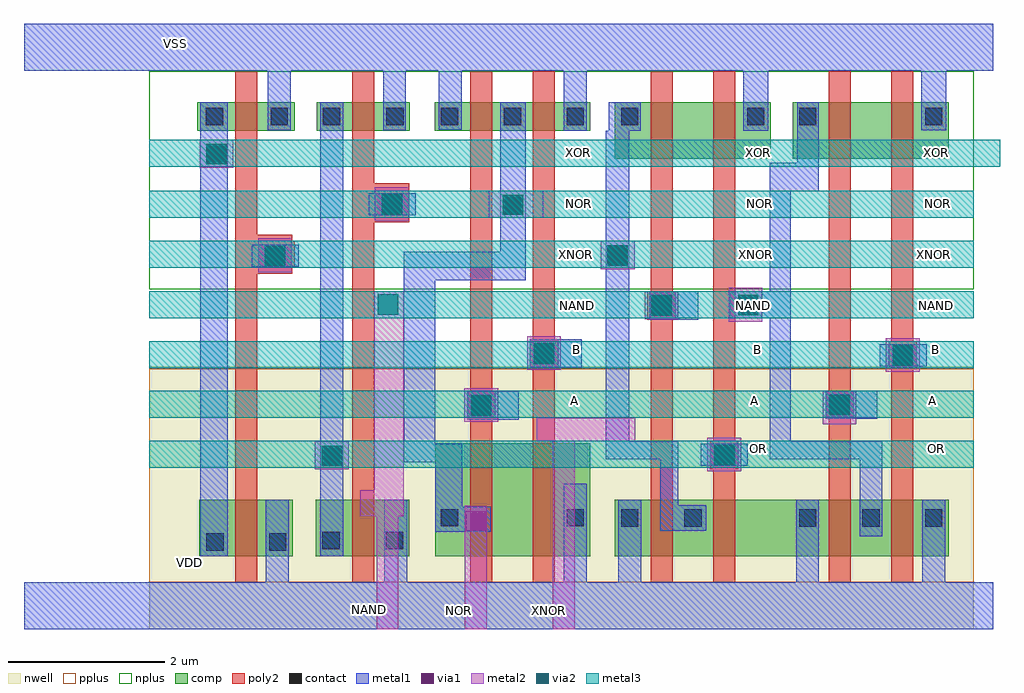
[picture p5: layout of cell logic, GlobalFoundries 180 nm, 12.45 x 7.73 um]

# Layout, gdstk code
import gdstk
lib = gdstk.Library(unit=1e-6, precision=5e-09)
def R(c, l, rs):  # rectangles x0, y0, x1, y1
    for r in rs: c.add(gdstk.rectangle(r[:2], r[2:], *l))
def A(c, l, x, y, w, h, nx, ny, dx, dy):  # array of equal rectangles
    R(c, l, [(x+i*dx, y+j*dy, x+i*dx+w, y+j*dy+h) for i in range(nx) for j in range(ny)])
nwell = (21, 0)
comp = (22, 0)
poly2 = (30, 0)
pplus = (31, 0)
nplus = (32, 0)
contact = (33, 0)
metal1 = (34, 0)
via1 = (35, 0)
metal2 = (36, 0)
via2 = (38, 0)
metal3 = (42, 0)

logic = lib.new_cell('logic')
R(logic, nwell, [(-2.8,-5.725,7.715,-2.375)])
R(logic, comp, [(-2.16,-4.79,-0.97,-4.07), (-0.675,-4.79,0.515,-4.07), (0.85,-4.79,2.825,-3.35), (3.14,-4.79,5.41,-4.07), (5.41,-4.79,7.395,-4.07), (3.14,0.275,5.125,0.995), (5.41,0.275,7.395,0.995), (-2.185,0.635,-0.945,0.995), (-0.665,0.635,0.525,0.995), (0.84,0.635,2.825,0.995)])
R(logic, poly2, [(-1.7,-5.125,-1.42,1.385), (-0.21,-5.125,0.07,1.385), (1.295,-5.125,1.575,1.385), (2.095,-5.125,2.375,1.39), (3.595,-5.125,3.875,1.385), (4.395,-5.125,4.675,1.39), (5.865,-5.125,6.145,1.39), (6.665,-5.125,6.945,1.39), (4.355,-3.68,4.715,-3.32), (1.255,-3.05,1.615,-2.69), (5.825,-3.04,6.185,-2.68), (6.63,-2.41,6.99,-2.05), (6.63,-2.41,6.99,-2.05), (2.055,-2.385,2.415,-2.025), (3.555,-1.775,3.915,-1.415), (-1.42,-1.19,-0.975,-0.69), (-1.385,-1.115,-0.94,-0.77), (0.07,-0.535,0.515,-0.035)])
R(logic, pplus, [(-2.8,-5.125,7.715,-2.4)])
R(logic, nplus, [(-2.8,-1.385,7.715,1.395)])
R(logic, contact, [(-2.07,-4.72,-1.85,-4.5), (-1.27,-4.72,-1.05,-4.5), (-0.59,-4.7,-0.37,-4.48), (0.22,-4.7,0.44,-4.48), (3.22,-4.415,3.44,-4.195), (4.025,-4.415,4.245,-4.195), (5.49,-4.415,5.71,-4.195), (6.295,-4.415,6.515,-4.195), (7.095,-4.415,7.315,-4.195), (0.92,-4.41,1.14,-4.19), (2.525,-4.41,2.745,-4.19), (4.425,-3.61,4.645,-3.39), (1.325,-2.98,1.545,-2.76), (5.895,-2.97,6.115,-2.75), (6.7,-2.34,6.92,-2.12), (6.7,-2.34,6.92,-2.12), (2.125,-2.315,2.345,-2.095), (3.625,-1.705,3.845,-1.485), (-1.305,-1.07,-1.085,-0.85), (-1.305,-1.07,-1.085,-0.85), (0.185,-0.415,0.405,-0.195), (0.185,-0.415,0.405,-0.195), (-2.075,0.705,-1.855,0.925), (-1.25,0.705,-1.03,0.925), (-0.585,0.705,-0.365,0.925), (0.225,0.705,0.445,0.925), (0.92,0.705,1.14,0.925), (1.725,0.705,1.945,0.925), (2.525,0.705,2.745,0.925), (3.22,0.705,3.44,0.925), (4.825,0.705,5.045,0.925), (5.49,0.705,5.71,0.925), (7.095,0.705,7.315,0.925)])
R(logic, metal1, [(-4.395,-5.725,7.965,-5.125), (-1.31,-5.215,-1.02,-4.07), (0.2,-5.21,0.49,-4.07), (7.06,-5.21,7.35,-4.07), (2.49,-5.205,2.78,-3.865), (3.185,-5.205,3.475,-4.07), (5.45,-5.205,5.74,-4.07), (-2.145,-4.79,-1.795,0.995), (-0.615,-4.79,-0.325,0.995), (6.26,-4.535,6.55,-3.33), (0.85,-4.48,1.555,-4.16), (3.715,-4.47,4.305,-4.14), (3.715,-4.22,3.945,-3.325), (0.85,-4.16,1.19,-3.595), (4.235,-3.64,4.835,-3.36), (0.445,-3.595,0.85,-0.91), (0.445,-3.595,1.19,-3.36), (3.025,-3.555,3.325,0.635), (3.06,-3.555,3.945,-3.325), (5.115,-3.555,5.385,0.225), (5.33,-3.555,6.55,-3.325), (1.255,-3.05,1.915,-2.69), (5.825,-3.04,6.485,-2.68), (2.055,-2.385,2.715,-2.025), (6.515,-2.37,7.115,-2.09), (6.515,-2.37,7.115,-2.09), (3.585,-1.775,4.205,-1.415), (4.6,-1.755,5.115,-1.41), (0.85,-1.275,2,-0.91), (1.675,-1.275,2,0.995), (-1.49,-1.1,-0.89,-0.82), (-1.49,-1.1,-0.89,-0.82), (0,-0.445,0.6,-0.165), (0,-0.445,0.6,-0.165), (5.33,-0.135,5.74,0.225), (5.465,-0.135,5.74,0.995), (2.49,0.635,2.78,2), (3.06,0.635,3.47,0.995), (4.775,0.635,5.095,2), (-1.285,0.64,-0.995,2), (0.185,0.64,0.475,2), (7.045,0.64,7.365,2), (0.895,0.645,1.185,2), (-4.395,1.4,7.965,2)])
R(logic, via1, [(1.235,-4.47,1.495,-4.21), (-0.6,-3.64,-0.34,-3.38), (4.405,-3.63,4.665,-3.37), (1.305,-3,1.565,-2.74), (5.875,-2.99,6.135,-2.73), (6.68,-2.36,6.94,-2.1), (6.68,-2.36,6.94,-2.1), (2.105,-2.335,2.365,-2.075), (3.605,-1.725,3.865,-1.465), (4.71,-1.72,4.97,-1.46), (-1.325,-1.09,-1.065,-0.83), (-1.325,-1.09,-1.065,-0.83), (3.045,-1.085,3.305,-0.825), (1.71,-0.44,1.97,-0.18), (0.165,-0.435,0.425,-0.175), (0.165,-0.435,0.425,-0.175), (-2.07,0.205,-1.81,0.465)])
R(logic, metal2, [(0.1,-5.725,0.38,-4.285), (1.225,-5.725,1.505,-4.15), (2.35,-5.725,2.63,-3.025), (-0.105,-4.285,0.445,-3.95), (0.07,-3.95,0.445,-1.41), (4.32,-3.71,4.75,-3.28), (-0.685,-3.685,-0.255,-3.325), (2.145,-3.325,3.4,-3.025), (3.045,-3.3,3.305,-3.04), (5.79,-3.11,6.22,-2.68), (1.22,-3.08,1.65,-2.65), (6.595,-2.44,7.025,-2.01), (6.595,-2.44,7.025,-2.01), (2.02,-2.415,2.45,-1.985), (4.59,-1.8,5.02,-1.37), (3.52,-1.77,3.95,-1.41), (-1.41,-1.17,-0.98,-0.74), (-1.41,-1.17,-0.98,-0.74), (2.96,-1.13,3.39,-0.77), (0.08,-0.515,0.51,-0.085), (0.08,-0.515,0.51,-0.085), (1.53,-0.475,2.225,-0.13), (-2.155,0.16,-1.725,0.52)])
R(logic, via2, [(-0.6,-3.64,-0.34,-3.38), (4.405,-3.63,4.665,-3.37), (1.305,-3,1.565,-2.74), (5.875,-2.99,6.135,-2.73), (6.68,-2.36,6.94,-2.1), (6.68,-2.36,6.94,-2.1), (2.105,-2.335,2.365,-2.075), (3.605,-1.725,3.865,-1.465), (4.71,-1.72,4.97,-1.46), (0.115,-1.71,0.375,-1.45), (-1.325,-1.09,-1.065,-0.83), (-1.325,-1.09,-1.065,-0.83), (3.045,-1.085,3.305,-0.825), (1.71,-0.44,1.97,-0.18), (0.165,-0.435,0.425,-0.175), (0.165,-0.435,0.425,-0.175), (-2.07,0.205,-1.81,0.465)])
A(logic, metal3, -2.8, -2.395, 10.515, 0.345, 1, 4, 0, 0.64)
R(logic, metal3, [(-2.8,-3.665,7.715,-3.32), (-2.8,-3.025,7.715,-2.68), (-2.8,0.175,8.05,0.52)])
logic.add(gdstk.Label('B', (7.225,-2.15), layer=42, texttype=10))
logic.add(gdstk.Label('XOR', (2.67,0.35), layer=42, texttype=10))
logic.add(gdstk.Label('NOR', (2.68,-0.29), layer=42, texttype=10))
logic.add(gdstk.Label('XNOR', (2.635,-0.94), layer=42, texttype=10))
logic.add(gdstk.Label('NAND', (2.665,-1.6), layer=42, texttype=10))
logic.add(gdstk.Label('B', (2.655,-2.15), layer=42, texttype=10))
logic.add(gdstk.Label('A', (2.625,-2.8), layer=42, texttype=10))
logic.add(gdstk.Label('XOR', (4.97,0.35), layer=42, texttype=10))
logic.add(gdstk.Label('NOR', (4.98,-0.29), layer=42, texttype=10))
logic.add(gdstk.Label('XNOR', (4.935,-0.94), layer=42, texttype=10))
logic.add(gdstk.Label('NAND', (4.905,-1.6), layer=42, texttype=10))
logic.add(gdstk.Label('B', (4.955,-2.15), layer=42, texttype=10))
logic.add(gdstk.Label('A', (4.925,-2.8), layer=42, texttype=10))
logic.add(gdstk.Label('OR', (4.97,-3.415), layer=42, texttype=10))
logic.add(gdstk.Label('XOR', (7.24,0.35), layer=42, texttype=10))
logic.add(gdstk.Label('NOR', (7.25,-0.29), layer=42, texttype=10))
logic.add(gdstk.Label('XNOR', (7.205,-0.94), layer=42, texttype=10))
logic.add(gdstk.Label('NAND', (7.235,-1.6), layer=42, texttype=10))
logic.add(gdstk.Label('A', (7.195,-2.8), layer=42, texttype=10))
logic.add(gdstk.Label('OR', (7.24,-3.415), layer=42, texttype=10))
logic.add(gdstk.Label('VDD', (-2.28,-4.875), layer=34, texttype=10))
logic.add(gdstk.Label('VSS', (-2.46,1.75), layer=34, texttype=10))
logic.add(gdstk.Label('NOR', (1.14,-5.485), layer=36, texttype=10))
logic.add(gdstk.Label('XNOR', (2.295,-5.485), layer=36, texttype=10))
logic.add(gdstk.Label('NAND', (0.01,-5.47), layer=36, texttype=10))

lib.write_gds('logic.gds')
